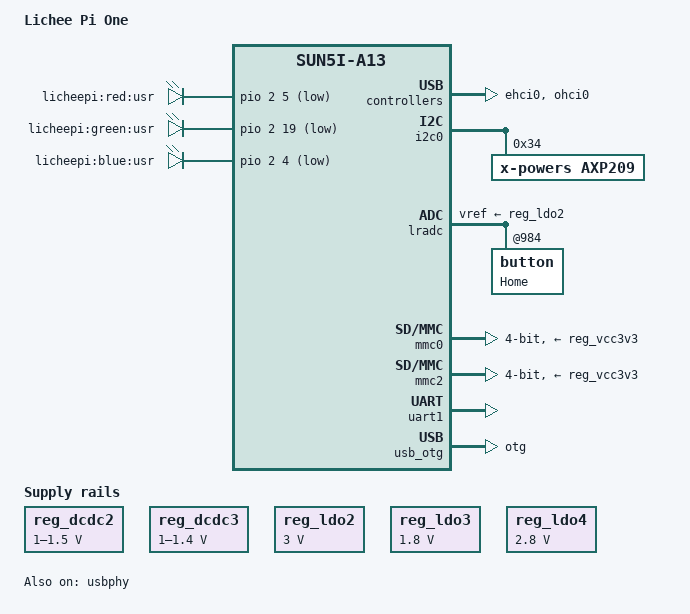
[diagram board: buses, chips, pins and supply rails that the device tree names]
/*
 * Copyright 2016 Icenowy Zheng <icenowy@aosc.xyz>
 *
 * Based on sun5i-a13-olinuxino.dts, which is
 *   Copyright 2012 Maxime Ripard <maxime.ripard@free-electrons.com>
 *   Copyright 2013 Hans de Goede <hdegoede@redhat.com>
 *
 * This file is dual-licensed: you can use it either under the terms
 * of the GPL or the X11 license, at your option. Note that this dual
 * licensing only applies to this file, and not this project as a
 * whole.
 *
 *  a) This file is free software; you can redistribute it and/or
 *     modify it under the terms of the GNU General Public License as
 *     published by the Free Software Foundation; either version 2 of the
 *     License, or (at your option) any later version.
 *
 *     This file is distributed in the hope that it will be useful,
 *     but WITHOUT ANY WARRANTY; without even the implied warranty of
 *     MERCHANTABILITY or FITNESS FOR A PARTICULAR PURPOSE.  See the
 *     GNU General Public License for more details.
 *
 * Or, alternatively,
 *
 *  b) Permission is hereby granted, free of charge, to any person
 *     obtaining a copy of this software and associated documentation
 *     files (the "Software"), to deal in the Software without
 *     restriction, including without limitation the rights to use,
 *     copy, modify, merge, publish, distribute, sublicense, and/or
 *     sell copies of the Software, and to permit persons to whom the
 *     Software is furnished to do so, subject to the following
 *     conditions:
 *
 *     The above copyright notice and this permission notice shall be
 *     included in all copies or substantial portions of the Software.
 *
 *     THE SOFTWARE IS PROVIDED "AS IS", WITHOUT WARRANTY OF ANY KIND,
 *     EXPRESS OR IMPLIED, INCLUDING BUT NOT LIMITED TO THE WARRANTIES
 *     OF MERCHANTABILITY, FITNESS FOR A PARTICULAR PURPOSE AND
 *     NONINFRINGEMENT. IN NO EVENT SHALL THE AUTHORS OR COPYRIGHT
 *     HOLDERS BE LIABLE FOR ANY CLAIM, DAMAGES OR OTHER LIABILITY,
 *     WHETHER IN AN ACTION OF CONTRACT, TORT OR OTHERWISE, ARISING
 *     FROM, OUT OF OR IN CONNECTION WITH THE SOFTWARE OR THE USE OR
 *     OTHER DEALINGS IN THE SOFTWARE.
 */

/dts-v1/;
#include "sun5i-a13.dtsi"
#include "sunxi-common-regulators.dtsi"

#include <dt-bindings/gpio/gpio.h>
#include <dt-bindings/input/input.h>

/ {
	model = "Lichee Pi One";
	compatible = "licheepi,licheepi-one", "allwinner,sun5i-a13";

	aliases {
		serial0 = &uart1;
	};

	chosen {
		stdout-path = "serial0:115200n8";
	};

	leds {
		compatible = "gpio-leds";

		red {
			label ="licheepi:red:usr";
			gpios = <&pio 2 5 GPIO_ACTIVE_LOW>;
		};

		green {
			label ="licheepi:green:usr";
			gpios = <&pio 2 19 GPIO_ACTIVE_LOW>;
			default-state = "on";
		};

		blue {
			label ="licheepi:blue:usr";
			gpios = <&pio 2 4 GPIO_ACTIVE_LOW>;
		};

	};
};

&cpu0 {
	cpu-supply = <&reg_dcdc2>;
};

&ehci0 {
	status = "okay";
};

&i2c0 {
	pinctrl-names = "default";
	pinctrl-0 = <&i2c0_pins_a>;
	status = "okay";

	axp209: pmic@34 {
		compatible = "x-powers,axp209";
		reg = <0x34>;
		interrupts = <0>;

		interrupt-controller;
		#interrupt-cells = <1>;
	};
};

&i2c1 {
	pinctrl-names = "default";
	pinctrl-0 = <&i2c1_pins_a>;
	status = "disabled";
};

&i2c2 {
	pinctrl-names = "default";
	pinctrl-0 = <&i2c2_pins_a>;
	status = "disabled";
};

&lradc {
	vref-supply = <&reg_ldo2>;
	status = "okay";

	button@984 {
		label = "Home";
		linux,code = <KEY_HOMEPAGE>;
		channel = <0>;
		voltage = <984126>;
	};
};

&mmc0 {
	pinctrl-names = "default";
	pinctrl-0 = <&mmc0_pins_a>;
	vmmc-supply = <&reg_vcc3v3>;
	bus-width = <4>;
	broken-cd;
	status = "okay";
};

&mmc2 {
	pinctrl-names = "default";
	pinctrl-0 = <&mmc2_4bit_pins_a>;
	vmmc-supply = <&reg_vcc3v3>;
	bus-width = <4>;
	broken-cd;
	status = "okay";
};

&ohci0 {
	status = "okay";
};

&otg_sram {
	status = "okay";
};

#include "axp209.dtsi"

&reg_dcdc2 {
	regulator-always-on;
	regulator-min-microvolt = <1000000>;
	regulator-max-microvolt = <1500000>;
	regulator-name = "vdd-cpu";
};

&reg_dcdc3 {
	regulator-always-on;
	regulator-min-microvolt = <1000000>;
	regulator-max-microvolt = <1400000>;
	regulator-name = "vdd-int-dll";
};

&reg_ldo1 {
	regulator-name = "vdd-rtc";
};

&reg_ldo2 {
	regulator-always-on;
	regulator-min-microvolt = <3000000>;
	regulator-max-microvolt = <3000000>;
	regulator-name = "avcc";
};

&reg_ldo3 {
	regulator-min-microvolt = <1800000>;
	regulator-max-microvolt = <1800000>;
	regulator-name = "csi-1.8v";
};

&reg_ldo4 {
	regulator-min-microvolt = <2800000>;
	regulator-max-microvolt = <2800000>;
	regulator-name = "csi-2.8v";
};

&reg_usb0_vbus {
	gpio = <&pio 2 12 GPIO_ACTIVE_HIGH>; /* PC12 */
	status = "okay";
};

&uart1 {
	pinctrl-names = "default";
	pinctrl-0 = <&uart1_pins_b>;
	status = "okay";
};

&usb_otg {
	dr_mode = "otg";
	status = "okay";
};

&usbphy {
	pinctrl-names = "default";
	usb0_id_det-gpio = <&pio 6 2 GPIO_ACTIVE_HIGH>; /* PG2 */
	usb0_vbus_det-gpio = <&pio 6 1 GPIO_ACTIVE_HIGH>; /* PG1 */
	usb0_vbus-supply = <&reg_usb0_vbus>;
	usb1_vbus-supply = <&reg_vcc5v0>;
	status = "okay";
};
